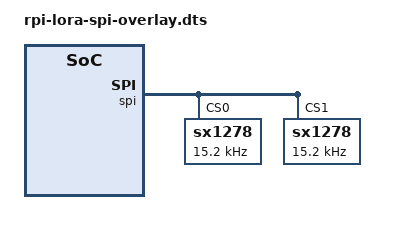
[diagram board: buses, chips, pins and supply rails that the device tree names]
/dts-v1/;
/plugin/;

/ {
	fragment@0 {
		target = <&spi>;
		__overlay__ {
			#address-cells = <1>;
			#size-cells = <0>;

			spidev@0 {
				status = "disabled";
			};

			spidev@1 {
				status = "disabled";
			};
			
			sx1278@0 {
				compatible = "sx1278";
				reg = <0>;
				status = "okay";
				spi-max-frequency = <0x3b60>;
				center-carrier-frq = <434000000>;
				clock-frequency = <32000000>;
				minimal-RF-channel = /bits/ 8 <11>;
				maximum-RF-channel = /bits/ 8 <11>;
			};

			sx1278@1 {
				compatible = "sx1278";
				reg = <1>;
				status = "okay";
				spi-max-frequency = <0x3b60>;
				center-carrier-frq = <434000000>;
				clock-frequency = <32000000>;
				minimal-RF-channel = /bits/ 8 <11>;
				maximum-RF-channel = /bits/ 8 <11>;
			};
		};
	};
};
